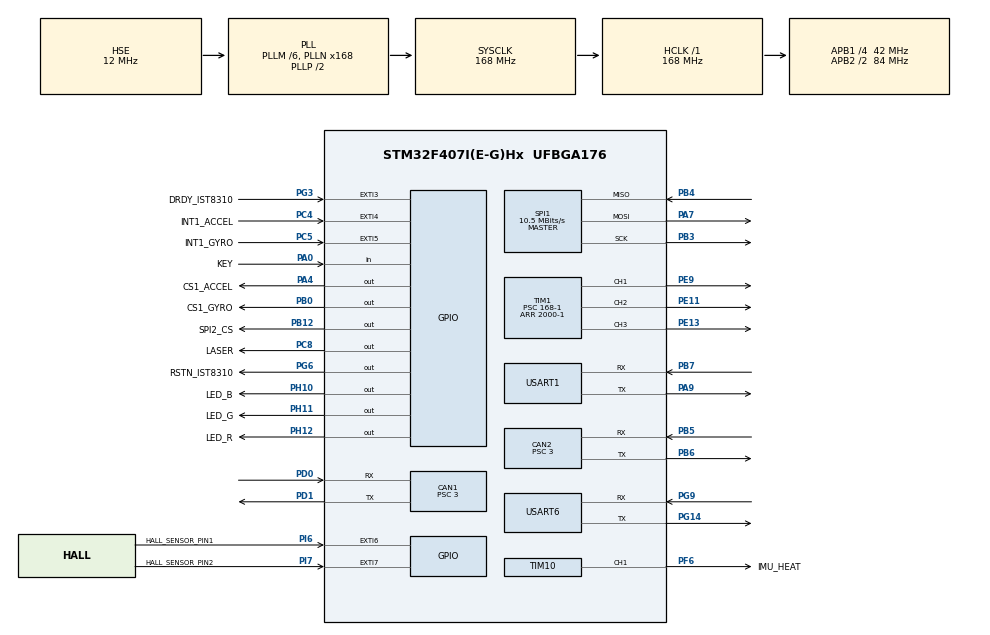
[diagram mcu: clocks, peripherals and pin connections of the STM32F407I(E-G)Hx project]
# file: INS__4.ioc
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CAN1.BS1=CAN_BS1_10TQ
CAN1.BS2=CAN_BS2_3TQ
CAN1.CalculateBaudRate=1000000
CAN1.CalculateTimeBit=1000
CAN1.CalculateTimeQuantum=71.42857142857143
CAN1.Prescaler=3
CAN2.BS1=CAN_BS1_10TQ
CAN2.BS2=CAN_BS2_3TQ
CAN2.CalculateBaudRate=1000000
CAN2.CalculateTimeBit=1000
CAN2.CalculateTimeQuantum=71.42857142857143
CAN2.Prescaler=3
Dma.Request0=SPI1_RX
Dma.Request1=SPI1_TX
Dma.Request2=USART6_RX
Dma.Request3=USART6_TX
Dma.Request4=USART1_TX
Dma.Request5=USART1_RX
Dma.SPI1_RX.0.Direction=DMA_PERIPH_TO_MEMORY
Dma.SPI1_RX.0.FIFOMode=DMA_FIFOMODE_DISABLE
Dma.SPI1_RX.0.Instance=DMA2_Stream2
Dma.SPI1_RX.0.MemDataAlignment=DMA_MDATAALIGN_BYTE
Dma.SPI1_RX.0.MemInc=DMA_MINC_ENABLE
Dma.SPI1_RX.0.Mode=DMA_NORMAL
Dma.SPI1_RX.0.PeriphDataAlignment=DMA_PDATAALIGN_BYTE
Dma.SPI1_RX.0.PeriphInc=DMA_PINC_DISABLE
Dma.SPI1_RX.0.Priority=DMA_PRIORITY_VERY_HIGH
Dma.SPI1_TX.1.Direction=DMA_MEMORY_TO_PERIPH
Dma.SPI1_TX.1.FIFOMode=DMA_FIFOMODE_DISABLE
Dma.SPI1_TX.1.Instance=DMA2_Stream3
Dma.SPI1_TX.1.MemDataAlignment=DMA_MDATAALIGN_BYTE
Dma.SPI1_TX.1.MemInc=DMA_MINC_ENABLE
Dma.SPI1_TX.1.Mode=DMA_NORMAL
Dma.SPI1_TX.1.PeriphDataAlignment=DMA_PDATAALIGN_BYTE
Dma.SPI1_TX.1.PeriphInc=DMA_PINC_DISABLE
Dma.SPI1_TX.1.Priority=DMA_PRIORITY_HIGH
Dma.USART1_RX.5.Direction=DMA_PERIPH_TO_MEMORY
Dma.USART1_RX.5.FIFOMode=DMA_FIFOMODE_DISABLE
Dma.USART1_RX.5.Instance=DMA2_Stream5
Dma.USART1_RX.5.MemDataAlignment=DMA_MDATAALIGN_BYTE
Dma.USART1_RX.5.MemInc=DMA_MINC_ENABLE
Dma.USART1_RX.5.Mode=DMA_NORMAL
Dma.USART1_RX.5.PeriphDataAlignment=DMA_PDATAALIGN_BYTE
Dma.USART1_RX.5.PeriphInc=DMA_PINC_DISABLE
Dma.USART1_RX.5.Priority=DMA_PRIORITY_LOW
Dma.USART1_TX.4.Direction=DMA_MEMORY_TO_PERIPH
Dma.USART1_TX.4.FIFOMode=DMA_FIFOMODE_DISABLE
Dma.USART1_TX.4.Instance=DMA2_Stream7
Dma.USART1_TX.4.MemDataAlignment=DMA_MDATAALIGN_BYTE
Dma.USART1_TX.4.MemInc=DMA_MINC_ENABLE
Dma.USART1_TX.4.Mode=DMA_NORMAL
Dma.USART1_TX.4.PeriphDataAlignment=DMA_PDATAALIGN_BYTE
Dma.USART1_TX.4.PeriphInc=DMA_PINC_DISABLE
Dma.USART1_TX.4.Priority=DMA_PRIORITY_LOW
Dma.USART6_RX.2.Direction=DMA_PERIPH_TO_MEMORY
Dma.USART6_RX.2.FIFOMode=DMA_FIFOMODE_DISABLE
Dma.USART6_RX.2.Instance=DMA2_Stream1
Dma.USART6_RX.2.MemDataAlignment=DMA_MDATAALIGN_BYTE
Dma.USART6_RX.2.MemInc=DMA_MINC_ENABLE
Dma.USART6_RX.2.Mode=DMA_NORMAL
Dma.USART6_RX.2.PeriphDataAlignment=DMA_PDATAALIGN_BYTE
Dma.USART6_RX.2.PeriphInc=DMA_PINC_DISABLE
Dma.USART6_RX.2.Priority=DMA_PRIORITY_LOW
Dma.USART6_TX.3.Direction=DMA_MEMORY_TO_PERIPH
Dma.USART6_TX.3.FIFOMode=DMA_FIFOMODE_DISABLE
Dma.USART6_TX.3.Instance=DMA2_Stream6
Dma.USART6_TX.3.MemDataAlignment=DMA_MDATAALIGN_BYTE
Dma.USART6_TX.3.MemInc=DMA_MINC_ENABLE
Dma.USART6_TX.3.Mode=DMA_NORMAL
Dma.USART6_TX.3.PeriphDataAlignment=DMA_PDATAALIGN_BYTE
Dma.USART6_TX.3.PeriphInc=DMA_PINC_DISABLE
Dma.USART6_TX.3.Priority=DMA_PRIORITY_LOW
FREERTOS.INCLUDE_eTaskGetState=1
FREERTOS.INCLUDE_pcTaskGetTaskName=1
FREERTOS.INCLUDE_uxTaskGetStackHighWaterMark=1
FREERTOS.INCLUDE_vTaskCleanUpResources=1
FREERTOS.INCLUDE_vTaskDelayUntil=1
FREERTOS.INCLUDE_xEventGroupSetBitFromISR=1
FREERTOS.INCLUDE_xQueueGetMutexHolder=1
FREERTOS.INCLUDE_xSemaphoreGetMutexHolder=1
FREERTOS.INCLUDE_xTaskAbortDelay=1
FREERTOS.INCLUDE_xTaskGetCurrentTaskHandle=1
FREERTOS.INCLUDE_xTaskGetHandle=1
FREERTOS.INCLUDE_xTimerPendFunctionCall=1
FREERTOS.Tasks01=INSTask,0,1024,StartINSTask,Default,NULL,Dynamic,NULL,NULL;classis_task,-3,512,classis_,As weak,NULL,Dynamic,NULL,NULL;to_gimbal_task,-3,256,to_gimbal,As weak,NULL,Dynamic,NULL,NULL;juc_sys_task,-3,256,juc_sys,As weak,NULL,Dynamic,NULL,NULL
FREERTOS.configTOTAL_HEAP_SIZE=24576
Mcu.Family=STM32F4
Mcu.Name=STM32F407I(E-G)Hx
Mcu.Package=UFBGA176
NVIC.CAN1_RX0_IRQn=true\:5\:0\:false\:false\:true\:true\:true\:true\:true
NVIC.CAN2_RX0_IRQn=true\:5\:0\:false\:false\:true\:true\:true\:true\:true
NVIC.DMA2_Stream1_IRQn=true\:5\:0\:false\:false\:true\:true\:false\:true\:true
NVIC.DMA2_Stream2_IRQn=true\:5\:0\:true\:false\:false\:false\:false\:true\:true
NVIC.DMA2_Stream3_IRQn=true\:5\:0\:true\:false\:false\:false\:false\:true\:true
NVIC.DMA2_Stream5_IRQn=true\:5\:0\:false\:false\:true\:true\:false\:true\:true
NVIC.DMA2_Stream6_IRQn=true\:5\:0\:false\:false\:true\:true\:false\:true\:true
NVIC.DMA2_Stream7_IRQn=true\:5\:0\:false\:false\:true\:true\:false\:true\:true
NVIC.EXTI3_IRQn=true\:5\:0\:true\:false\:true\:false\:true\:true\:true
NVIC.EXTI4_IRQn=true\:5\:0\:true\:false\:true\:false\:true\:true\:true
NVIC.EXTI9_5_IRQn=true\:5\:0\:true\:false\:true\:false\:true\:true\:true
NVIC.PriorityGroup=NVIC_PRIORITYGROUP_4
NVIC.TIM2_IRQn=true\:0\:0\:false\:false\:true\:false\:false\:true\:true
NVIC.TIM5_IRQn=true\:5\:0\:false\:false\:true\:true\:true\:true\:true
NVIC.TIM8_TRG_COM_TIM14_IRQn=true\:5\:0\:false\:false\:true\:true\:true\:true\:true
NVIC.TimeBase=TIM2_IRQn
NVIC.TimeBaseIP=TIM2
NVIC.USART1_IRQn=true\:5\:0\:false\:false\:true\:true\:true\:true\:true
NVIC.USART6_IRQn=true\:5\:0\:false\:false\:true\:true\:true\:true\:true
PA0-WKUP.GPIO_Label=KEY
PA0-WKUP.GPIO_PuPd=GPIO_PULLUP
PA0-WKUP.Signal=GPIO_Input
PA13.Mode=Serial_Wire
PA13.Signal=SYS_JTMS-SWDIO
PA14.Mode=Serial_Wire
PA14.Signal=SYS_JTCK-SWCLK
PA4.GPIO_Label=CS1_ACCEL
PA4.GPIO_PuPd=GPIO_PULLUP
PA4.GPIO_Speed=GPIO_SPEED_FREQ_HIGH
PA4.PinState=GPIO_PIN_SET
PA4.Signal=GPIO_Output
PA7.GPIO_PuPd=GPIO_PULLUP
PA7.Mode=Full_Duplex_Master
PA7.Signal=SPI1_MOSI
PA9.Mode=Asynchronous
PA9.Signal=USART1_TX
PB0.GPIO_Label=CS1_GYRO
PB0.GPIO_PuPd=GPIO_PULLUP
PB0.GPIO_Speed=GPIO_SPEED_FREQ_HIGH
PB0.PinState=GPIO_PIN_SET
PB0.Signal=GPIO_Output
PB12.GPIO_Label=SPI2_CS
PB12.GPIO_PuPd=GPIO_PULLUP
PB12.GPIO_Speed=GPIO_SPEED_FREQ_MEDIUM
PB12.PinState=GPIO_PIN_SET
PB12.Signal=GPIO_Output
PB3.GPIO_PuPd=GPIO_PULLUP
PB3.Mode=Full_Duplex_Master
PB3.Signal=SPI1_SCK
PB4.GPIO_PuPd=GPIO_PULLUP
PB4.Mode=Full_Duplex_Master
PB4.Signal=SPI1_MISO
PB5.Mode=CAN_Activate
PB5.Signal=CAN2_RX
PB6.Mode=CAN_Activate
PB6.Signal=CAN2_TX
PB7.Mode=Asynchronous
PB7.Signal=USART1_RX
PC10.Signal=USART3_TX
PC11.Signal=USART3_RX
PC4.GPIO_Label=INT1_ACCEL
PC4.GPIO_ModeDefaultEXTI=GPIO_MODE_IT_FALLING
PC4.GPIO_PuPd=GPIO_PULLUP
PC4.Signal=GPXTI4
PC5.GPIO_Label=INT1_GYRO
PC5.GPIO_ModeDefaultEXTI=GPIO_MODE_IT_FALLING
PC5.GPIO_PuPd=GPIO_PULLUP
PC5.Signal=GPXTI5
PC8.GPIO_Label=LASER
PC8.Signal=GPIO_Output
PD0.Mode=CAN_Activate
PD0.Signal=CAN1_RX
PD1.Mode=CAN_Activate
PD1.Signal=CAN1_TX
PE11.Signal=S_TIM1_CH2
PE13.Signal=S_TIM1_CH3
PE9.Signal=S_TIM1_CH1
PF6.GPIO_Label=IMU_HEAT
PF6.GPIO_PuPd=GPIO_PULLUP
PF6.GPIO_Speed=GPIO_SPEED_FREQ_HIGH
PF6.Signal=S_TIM10_CH1
PG14.Mode=Asynchronous
PG14.Signal=USART6_TX
PG3.GPIO_Label=DRDY_IST8310
PG3.GPIO_ModeDefaultEXTI=GPIO_MODE_IT_FALLING
PG3.GPIO_PuPd=GPIO_PULLUP
PG3.Signal=GPXTI3
PG6.GPIO_Label=RSTN_IST8310
PG6.GPIO_PuPd=GPIO_PULLUP
PG6.GPIO_Speed=GPIO_SPEED_FREQ_MEDIUM
PG6.PinState=GPIO_PIN_SET
PG6.Signal=GPIO_Output
PG9.Mode=Asynchronous
PG9.Signal=USART6_RX
PH0-OSC_IN.Mode=HSE-External-Oscillator
PH0-OSC_IN.Signal=RCC_OSC_IN
PH1-OSC_OUT.Mode=HSE-External-Oscillator
PH1-OSC_OUT.Signal=RCC_OSC_OUT
PH10.GPIO_Label=LED_B
PH10.Signal=GPIO_Output
PH11.GPIO_Label=LED_G
PH11.Signal=GPIO_Output
PH12.GPIO_Label=LED_R
PH12.Signal=GPIO_Output
PI6.GPIO_Label=HALL_SENSOR_PIN1
PI6.Signal=GPXTI6
PI7.GPIO_Label=HALL_SENSOR_PIN2
PI7.Signal=GPXTI7
ProjectManager.HeapSize=0x2000
ProjectManager.StackSize=0x2000
ProjectManager.TargetToolchain=MDK-ARM V5.32
RCC.48MHZClocksFreq_Value=48000000
RCC.AHBFreq_Value=168000000
RCC.APB1CLKDivider=RCC_HCLK_DIV4
RCC.APB1Freq_Value=42000000
RCC.APB1TimFreq_Value=84000000
RCC.APB2CLKDivider=RCC_HCLK_DIV2
RCC.APB2Freq_Value=84000000
RCC.APB2TimFreq_Value=168000000
RCC.CortexFreq_Value=168000000
RCC.HCLKFreq_Value=168000000
RCC.HSE_VALUE=12000000
RCC.HSI_VALUE=16000000
RCC.LSE_VALUE=32768
RCC.PLLM=6
RCC.PLLN=168
RCC.PLLQ=7
RCC.PLLSourceVirtual=RCC_PLLSOURCE_HSE
RCC.RCC_RTC_Clock_SourceVirtual=RCC_RTCCLKSOURCE_HSE_DIV30
RCC.RCC_RTC_Clock_Source_FROM_HSE=RCC_RTCCLKSOURCE_HSE_DIV30
RCC.SYSCLKFreq_VALUE=168000000
RCC.SYSCLKSource=RCC_SYSCLKSOURCE_PLLCLK
RCC.VCOOutputFreq_Value=336000000
SH.S_TIM10_CH1.0=TIM10_CH1,PWM Generation1 CH1
SH.S_TIM1_CH1.0=TIM1_CH1,PWM Generation1 CH1
SH.S_TIM1_CH2.0=TIM1_CH2,PWM Generation2 CH2
SH.S_TIM1_CH3.0=TIM1_CH3,PWM Generation3 CH3
SPI1.BaudRatePrescaler=SPI_BAUDRATEPRESCALER_8
SPI1.CLKPhase=SPI_PHASE_2EDGE
SPI1.CLKPolarity=SPI_POLARITY_HIGH
SPI1.CalculateBaudRate=10.5 MBits/s
SPI1.Direction=SPI_DIRECTION_2LINES
SPI1.Mode=SPI_MODE_MASTER
SPI1.VirtualType=VM_MASTER
TIM1.Channel-PWM\ Generation1\ CH1=TIM_CHANNEL_1
TIM1.Channel-PWM\ Generation2\ CH2=TIM_CHANNEL_2
TIM1.Channel-PWM\ Generation3\ CH3=TIM_CHANNEL_3
TIM1.Period=2000-1
TIM1.Prescaler=168-1
TIM10.Channel=TIM_CHANNEL_1
TIM10.Period=2000-1
TIM10.Prescaler=84-1
TIM14.Period=2000-1
TIM14.Prescaler=84-1
TIM5.Period=2199
TIM5.Prescaler=999
USART1.VirtualMode=VM_ASYNC
USART6.VirtualMode=VM_ASYNC
VP_CRC_VS_CRC.Mode=CRC_Activate
VP_FREERTOS_VS_CMSIS_V1.Mode=CMSIS_V1
VP_SYS_VS_tim2.Mode=TIM2
VP_TIM10_VS_ClockSourceINT.Mode=Enable_Timer
VP_TIM14_VS_ClockSourceINT.Mode=Enable_Timer
VP_TIM5_VS_ClockSourceINT.Mode=Internal
board=custom

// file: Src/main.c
/* USER CODE BEGIN Header */
/**
 ******************************************************************************
 * @file           : main.c
 * @brief          : Main program body
 ******************************************************************************
 * @attention
 *
 * <h2><center>&copy; Copyright (c) 2021 STMicroelectronics.
 * All rights reserved.</center></h2>
 *
 * This software component is licensed by ST under Ultimate Liberty license
 * SLA0044, the "License"; You may not use this file except in compliance with
 * the License. You may obtain a copy of the License at:
 *                             www.st.com/SLA0044
 *
 ******************************************************************************
 */
/* USER CODE END Header */
#include "main.h"
#include "cmsis_os.h"
#include "can.h"
#include "crc.h"
#include "dma.h"
#include "spi.h"
#include "tim.h"
#include "usart.h"
#include "gpio.h"

/* USER CODE BEGIN Includes */
#include "BMI088driver.h"
#include "bsp_dwt.h"
#include "RUI_CAN.h"
#include "handle.h"
/* USER CODE END Includes */

void SystemClock_Config(void);
void MX_FREERTOS_Init(void);

int main(void)
{

  /* MCU Configuration--------------------------------------------------------*/

  /* Reset of all peripherals, Initializes the Flash interface and the Systick. */
  HAL_Init();

  /* Configure the system clock */
  SystemClock_Config();

  /* Initialize all configured peripherals */
  MX_GPIO_Init();
  MX_DMA_Init();
  MX_SPI1_Init();
  MX_TIM10_Init();
  MX_CAN1_Init();
  MX_CAN2_Init();
  MX_TIM1_Init();
  MX_TIM14_Init();
  MX_USART1_UART_Init();
  MX_USART6_UART_Init();
  MX_CRC_Init();
  MX_TIM5_Init();
  /* USER CODE BEGIN 2 */
  DWT_Init(168);
  while (BMI088_init(&hspi1, 1) != BMI088_NO_ERROR);
  HAL_GPIO_WritePin(GPIOH,GPIO_PIN_10,GPIO_PIN_SET);
  HAL_GPIO_WritePin(GPIOH,GPIO_PIN_11,GPIO_PIN_SET);
  HAL_GPIO_WritePin(GPIOH,GPIO_PIN_12,GPIO_PIN_SET);
  HAL_TIM_Base_Start_IT(&htim5);
  CAN_Filter_Init();
  /* USER CODE END 2 */

  /* Call init function for freertos objects (in freertos.c) */
  MX_FREERTOS_Init();

  /* Start scheduler */
  osKernelStart();

  /* We should never get here as control is now taken by the scheduler */
  /* Infinite loop */
    while (1)
    {

    }
}

void SystemClock_Config(void)
{
  RCC_OscInitTypeDef RCC_OscInitStruct = {0};
  RCC_ClkInitTypeDef RCC_ClkInitStruct = {0};

  /** Configure the main internal regulator output voltage
  */
  __HAL_RCC_PWR_CLK_ENABLE();
  __HAL_PWR_VOLTAGESCALING_CONFIG(PWR_REGULATOR_VOLTAGE_SCALE1);

  /** Initializes the RCC Oscillators according to the specified parameters
  * in the RCC_OscInitTypeDef structure.
  */
  RCC_OscInitStruct.OscillatorType = RCC_OSCILLATORTYPE_HSE;
  RCC_OscInitStruct.HSEState = RCC_HSE_ON;
  RCC_OscInitStruct.PLL.PLLState = RCC_PLL_ON;
  RCC_OscInitStruct.PLL.PLLSource = RCC_PLLSOURCE_HSE;
  RCC_OscInitStruct.PLL.PLLM = 6;
  RCC_OscInitStruct.PLL.PLLN = 168;
  RCC_OscInitStruct.PLL.PLLP = RCC_PLLP_DIV2;
  RCC_OscInitStruct.PLL.PLLQ = 7;
  if (HAL_RCC_OscConfig(&RCC_OscInitStruct) != HAL_OK)
  {
    Error_Handler();
  }

  /** Initializes the CPU, AHB and APB buses clocks
  */
  RCC_ClkInitStruct.ClockType = RCC_CLOCKTYPE_HCLK|RCC_CLOCKTYPE_SYSCLK
                              |RCC_CLOCKTYPE_PCLK1|RCC_CLOCKTYPE_PCLK2;
  RCC_ClkInitStruct.SYSCLKSource = RCC_SYSCLKSOURCE_PLLCLK;
  RCC_ClkInitStruct.AHBCLKDivider = RCC_SYSCLK_DIV1;
  RCC_ClkInitStruct.APB1CLKDivider = RCC_HCLK_DIV4;
  RCC_ClkInitStruct.APB2CLKDivider = RCC_HCLK_DIV2;

  if (HAL_RCC_ClockConfig(&RCC_ClkInitStruct, FLASH_LATENCY_5) != HAL_OK)
  {
    Error_Handler();
  }
}

void HAL_TIM_PeriodElapsedCallback(TIM_HandleTypeDef *htim)
{
  if (htim->Instance == TIM2) {
    HAL_IncTick();
  }
}

void Error_Handler(void)
{
}

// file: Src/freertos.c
/* USER CODE BEGIN Header */
/**
 ******************************************************************************
 * File Name          : freertos.c
 * Description        : Code for freertos applications
 ******************************************************************************
 * @attention
 *
 * <h2><center>&copy; Copyright (c) 2021 STMicroelectronics.
 * All rights reserved.</center></h2>
 *
 * This software component is licensed by ST under Ultimate Liberty license
 * SLA0044, the "License"; You may not use this file except in compliance with
 * the License. You may obtain a copy of the License at:
 *                             www.st.com/SLA0044
 *
 ******************************************************************************
 */
/* USER CODE END Header */

#include "FreeRTOS.h"
#include "task.h"
#include "main.h"
#include "cmsis_os.h"

/* USER CODE BEGIN Includes */
#include "QuaternionEKF.h"
#include "ins_task.h"
#include "RUI_ALLUI.h"
#include "RUI_ANONYMITY.h"
#include "handle.h"
#include "hand_two.h"
#include "Receive.h"
/* USER CODE END Includes */

osThreadId INSTaskHandle;
osThreadId classis_taskHandle;
osThreadId to_gimbal_taskHandle;
osThreadId juc_sys_taskHandle;

void StartINSTask(void const * argument);
void classis_(void const * argument);
void to_gimbal(void const * argument);
void juc_sys(void const * argument);

void MX_FREERTOS_Init(void); /* (MISRA C 2004 rule 8.1) */

/* GetIdleTaskMemory prototype (linked to static allocation support) */
void vApplicationGetIdleTaskMemory( StaticTask_t **ppxIdleTaskTCBBuffer, StackType_t **ppxIdleTaskStackBuffer, uint32_t *pulIdleTaskStackSize );

/* GetTimerTaskMemory prototype (linked to static allocation support) */
void vApplicationGetTimerTaskMemory( StaticTask_t **ppxTimerTaskTCBBuffer, StackType_t **ppxTimerTaskStackBuffer, uint32_t *pulTimerTaskStackSize );

/* USER CODE BEGIN GET_IDLE_TASK_MEMORY */
static StaticTask_t xIdleTaskTCBBuffer;
static StackType_t xIdleStack[configMINIMAL_STACK_SIZE];

void vApplicationGetIdleTaskMemory(StaticTask_t **ppxIdleTaskTCBBuffer, StackType_t **ppxIdleTaskStackBuffer, uint32_t *pulIdleTaskStackSize)
{
    *ppxIdleTaskTCBBuffer = &xIdleTaskTCBBuffer;
    *ppxIdleTaskStackBuffer = &xIdleStack[0];
    *pulIdleTaskStackSize = configMINIMAL_STACK_SIZE;
    /* place for user code */
}
/* USER CODE END GET_IDLE_TASK_MEMORY */

/* USER CODE BEGIN GET_TIMER_TASK_MEMORY */
static StaticTask_t xTimerTaskTCBBuffer;
static StackType_t xTimerStack[configTIMER_TASK_STACK_DEPTH];

void vApplicationGetTimerTaskMemory(StaticTask_t **ppxTimerTaskTCBBuffer, StackType_t **ppxTimerTaskStackBuffer, uint32_t *pulTimerTaskStackSize)
{
    *ppxTimerTaskTCBBuffer = &xTimerTaskTCBBuffer;
    *ppxTimerTaskStackBuffer = &xTimerStack[0];
    *pulTimerTaskStackSize = configTIMER_TASK_STACK_DEPTH;
    /* place for user code */
}
/* USER CODE END GET_TIMER_TASK_MEMORY */

void MX_FREERTOS_Init(void) {

  /* Create the thread(s) */
  /* definition and creation of INSTask */
  osThreadDef(INSTask, StartINSTask, osPriorityNormal, 0, 1024);
  INSTaskHandle = osThreadCreate(osThread(INSTask), NULL);

  /* definition and creation of classis_task */
  osThreadDef(classis_task, classis_, osPriorityIdle, 0, 512);
  classis_taskHandle = osThreadCreate(osThread(classis_task), NULL);

  /* definition and creation of to_gimbal_task */
  osThreadDef(to_gimbal_task, to_gimbal, osPriorityIdle, 0, 256);
  to_gimbal_taskHandle = osThreadCreate(osThread(to_gimbal_task), NULL);

  /* definition and creation of juc_sys_task */
  osThreadDef(juc_sys_task, juc_sys, osPriorityIdle, 0, 256);
  juc_sys_taskHandle = osThreadCreate(osThread(juc_sys_task), NULL);

}

void StartINSTask(void const * argument)
{
  /* USER CODE BEGIN StartINSTask */
    INS_Init();
    /* Infinite loop */
    for (;;)
    {
        INS_Task();
        osDelay(1);
    }
  /* USER CODE END StartINSTask */
}

__weak void classis_(void const * argument)
{
  /* USER CODE BEGIN classis_ */
//	Calibrate();
  /* Infinite loop */
  for(;;)
  {
//	hand();
//	bei_yong();
    osDelay(1);
  }
  /* USER CODE END classis_ */
}

__weak void to_gimbal(void const * argument)
{
  /* USER CODE BEGIN to_gimbal */
  /* Infinite loop */
  for(;;)
  {
//	Usart1_TX_staticUI();
//	RUI_F_AN_REVOLVE();
    osDelay(1);
  }
  /* USER CODE END to_gimbal */
}

__weak void juc_sys(void const * argument)
{
  for(;;)
  {
    osDelay(1);
  }
}
